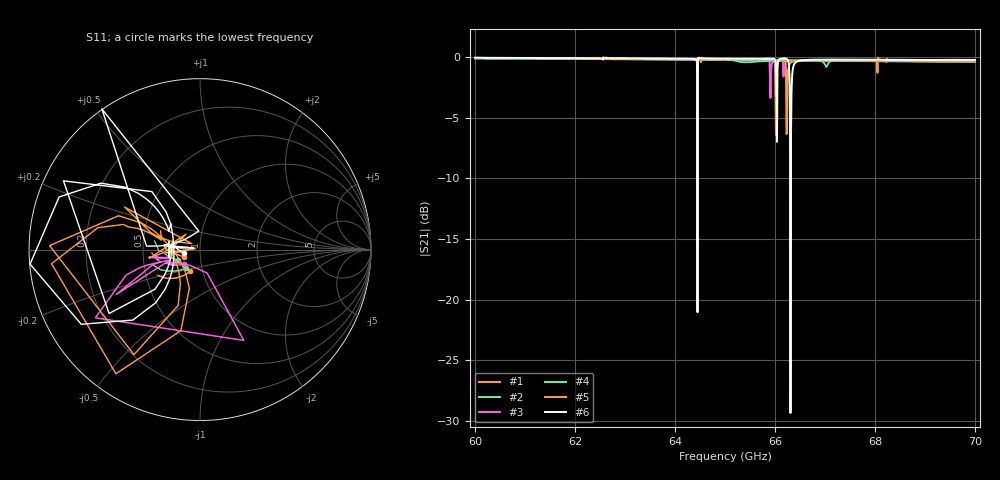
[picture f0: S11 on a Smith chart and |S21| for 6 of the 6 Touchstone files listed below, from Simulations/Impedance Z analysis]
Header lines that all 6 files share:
! TOUCHSTONE file generated by CST MICROWAVE STUDIO
! Project name: material_angular.cst
! Header version: 2018
! Port assignment regex: !\s*Touchstone port\s*([0-9]+)\s*=\s*(CST MWS port|CST DS port)\s*([0-9]+|Zmin|Zmax)\s*\(\"(.*)\"\)(\s*mode\s*([0-9]+))?.*
! Touchstone port assignment:
! Touchstone port 1 = CST MWS port 1 ("")
! Touchstone port 2 = CST MWS port 2 ("")
# GHz S MA R 376.7
Fixed: iiii = 5, exis2 = 5, exis = 5, X = 5, Z = 5, Y = 2
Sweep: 60 GHz to 70 GHz
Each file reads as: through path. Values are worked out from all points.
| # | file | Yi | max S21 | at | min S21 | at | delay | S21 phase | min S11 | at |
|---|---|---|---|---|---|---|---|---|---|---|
| 1 | MUT_2cm_Y_0.s2p | 0 | -0.09 dB | 60 GHz | -0.4 dB | 70 GHz | 9.42 ps | 138 deg at 65 GHz | -17.0 dB | 60 GHz |
| 2 | MUT_2cm_Y_1.s2p | 1 | -0.08 dB | 60 GHz | -0.4 dB | 70 GHz | 9.27 ps | 139 deg at 65 GHz | -17.4 dB | 60 GHz |
| 3 | MUT_2cm_Y_2.s2p | 2 | -0.05 dB | 65.88 GHz | -3.4 dB | 65.91 GHz | - | 139 deg at 65 GHz | -19.2 dB | 65.88 GHz |
| 4 | MUT_2cm_Y_3.s2p | 3 | -0.09 dB | 60 GHz | -0.8 dB | 67.03 GHz | 9.08 ps | 139 deg at 65 GHz | -16.9 dB | 60 GHz |
| 5 | MUT_2cm_Y_4.s2p | 4 | 0.00 dB | 62.63 GHz | -6.5 dB | 66.02 GHz | - | 139 deg at 65 GHz | -31.6 dB | 62.63 GHz |
| 6 | MUT_2cm_Y_5.s2p | 5 | -0.01 dB | 62.57 GHz | -29.4 dB | 66.31 GHz | - | 139 deg at 65 GHz | -28.3 dB | 62.57 GHz |
